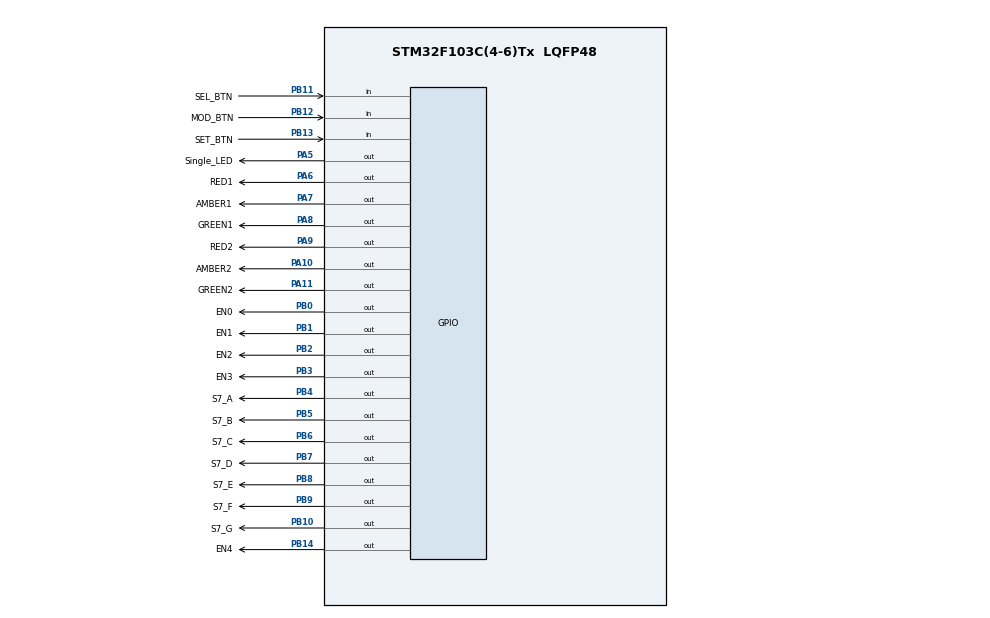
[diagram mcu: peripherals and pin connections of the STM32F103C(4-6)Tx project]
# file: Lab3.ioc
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Mcu.Family=STM32F1
Mcu.Name=STM32F103C(4-6)Tx
Mcu.Package=LQFP48
NVIC.PriorityGroup=NVIC_PRIORITYGROUP_4
NVIC.TIM2_IRQn=true\:0\:0\:false\:false\:true\:true\:true\:true
PA10.GPIO_Label=AMBER2
PA10.Signal=GPIO_Output
PA11.GPIO_Label=GREEN2
PA11.Signal=GPIO_Output
PA5.GPIO_Label=Single_LED
PA5.Signal=GPIO_Output
PA6.GPIO_Label=RED1
PA6.Signal=GPIO_Output
PA7.GPIO_Label=AMBER1
PA7.Signal=GPIO_Output
PA8.GPIO_Label=GREEN1
PA8.Signal=GPIO_Output
PA9.GPIO_Label=RED2
PA9.Signal=GPIO_Output
PB0.GPIO_Label=EN0
PB0.Signal=GPIO_Output
PB1.GPIO_Label=EN1
PB1.Signal=GPIO_Output
PB10.GPIO_Label=S7_G
PB10.Signal=GPIO_Output
PB11.GPIO_Label=SEL_BTN
PB11.GPIO_PuPd=GPIO_PULLUP
PB11.Signal=GPIO_Input
PB12.GPIO_Label=MOD_BTN
PB12.GPIO_PuPd=GPIO_PULLUP
PB12.Signal=GPIO_Input
PB13.GPIO_Label=SET_BTN
PB13.GPIO_PuPd=GPIO_PULLUP
PB13.Signal=GPIO_Input
PB14.GPIO_Label=EN4
PB14.Signal=GPIO_Output
PB2.GPIO_Label=EN2
PB2.Signal=GPIO_Output
PB3.GPIO_Label=EN3
PB3.Signal=GPIO_Output
PB4.GPIO_Label=S7_A
PB4.Signal=GPIO_Output
PB5.GPIO_Label=S7_B
PB5.Signal=GPIO_Output
PB6.GPIO_Label=S7_C
PB6.Signal=GPIO_Output
PB7.GPIO_Label=S7_D
PB7.Signal=GPIO_Output
PB8.GPIO_Label=S7_E
PB8.Signal=GPIO_Output
PB9.GPIO_Label=S7_F
PB9.Signal=GPIO_Output
ProjectManager.HeapSize=0x200
ProjectManager.StackSize=0x400
ProjectManager.TargetToolchain=STM32CubeIDE
RCC.APB1Freq_Value=8000000
RCC.APB2Freq_Value=8000000
TIM2.Period=9
TIM2.Prescaler=7999
VP_TIM2_VS_ClockSourceINT.Mode=Internal
board=custom

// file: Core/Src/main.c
/* USER CODE BEGIN Header */
/**
  ******************************************************************************
  * @file           : main.c
  * @brief          : Main program body
  ******************************************************************************
  * @attention
  *
  * Copyright (c) 2023 STMicroelectronics.
  * All rights reserved.
  *
  * This software is licensed under terms that can be found in the LICENSE file
  * in the root directory of this software component.
  * If no LICENSE file comes with this software, it is provided AS-IS.
  *
  ******************************************************************************
  */
/* USER CODE END Header */
#include "main.h"

/* USER CODE BEGIN Includes */
#include "global.h"
/* USER CODE END Includes */

TIM_HandleTypeDef htim2;

void SystemClock_Config(void);
static void MX_GPIO_Init(void);
static void MX_TIM2_Init(void);
/* USER CODE BEGIN PFP */
void HAL_TIM_PeriodElapsedCallback(TIM_HandleTypeDef *htim);
/* USER CODE END PFP */

int main(void)
{

  /* MCU Configuration--------------------------------------------------------*/

  /* Reset of all peripherals, Initializes the Flash interface and the Systick. */
  HAL_Init();

  /* Configure the system clock */
  SystemClock_Config();

  /* Initialize all configured peripherals */
  MX_GPIO_Init();
  MX_TIM2_Init();
  /* USER CODE BEGIN 2 */
  //Initialize......
  Input_Reading_Init();
  Input_Processing_Init();
  LED7SEG_Init();
  Global_Init();

  HAL_TIM_Base_Start_IT(&htim2);
  /* USER CODE END 2 */

  /* Infinite loop */
  /* USER CODE BEGIN WHILE */

  SetTimer(READING_PERIOD, READING_TIMER);
  SetTimer(SCANNING_PERIOD, SCANNING_TIMER);
  SetTimer(BLINKING_PERIOD, BLINKING_TIMER);

  while (1)
  {
	  if (GetFlagTimer(READING_TIMER)){
		  //Reset timer
		  SetTimer(READING_PERIOD, READING_TIMER);

		  //Reading
		  ButtonReading(SET_BTN);
		  ButtonReading(MOD_BTN);
		  ButtonReading(SEL_BTN);

		  //Input Processing
		  FSM_ProcessingSetValueButton();
		  FSM_ProcessingModifyButton();
		  FSM_ProcessingSelectModeButton();

		  //State Processing
		  FSM_ForRunStateProcessing();
	  }

	  //Display 7 SEG LEDs
	  if (GetFlagTimer(SCANNING_TIMER)){
		  //Reset timer
		  SetTimer(SCANNING_PERIOD, SCANNING_TIMER);

		  Scanning7SEG();
	  }

	  //Blinking
	  if (GetFlagTimer(BLINKING_TIMER)){
		  //Reset timer
		  SetTimer(BLINKING_PERIOD, BLINKING_TIMER);

		  HAL_GPIO_TogglePin(Single_LED_GPIO_Port, Single_LED_Pin);
	  }

    /* USER CODE END WHILE */

  }
}

void SystemClock_Config(void)
{
  RCC_OscInitTypeDef RCC_OscInitStruct = {0};
  RCC_ClkInitTypeDef RCC_ClkInitStruct = {0};

  /** Initializes the RCC Oscillators according to the specified parameters
  * in the RCC_OscInitTypeDef structure.
  */
  RCC_OscInitStruct.OscillatorType = RCC_OSCILLATORTYPE_HSI;
  RCC_OscInitStruct.HSIState = RCC_HSI_ON;
  RCC_OscInitStruct.HSICalibrationValue = RCC_HSICALIBRATION_DEFAULT;
  RCC_OscInitStruct.PLL.PLLState = RCC_PLL_NONE;
  if (HAL_RCC_OscConfig(&RCC_OscInitStruct) != HAL_OK)
  {
    Error_Handler();
  }

  /** Initializes the CPU, AHB and APB buses clocks
  */
  RCC_ClkInitStruct.ClockType = RCC_CLOCKTYPE_HCLK|RCC_CLOCKTYPE_SYSCLK
                              |RCC_CLOCKTYPE_PCLK1|RCC_CLOCKTYPE_PCLK2;
  RCC_ClkInitStruct.SYSCLKSource = RCC_SYSCLKSOURCE_HSI;
  RCC_ClkInitStruct.AHBCLKDivider = RCC_SYSCLK_DIV1;
  RCC_ClkInitStruct.APB1CLKDivider = RCC_HCLK_DIV1;
  RCC_ClkInitStruct.APB2CLKDivider = RCC_HCLK_DIV1;

  if (HAL_RCC_ClockConfig(&RCC_ClkInitStruct, FLASH_LATENCY_0) != HAL_OK)
  {
    Error_Handler();
  }
}

static void MX_TIM2_Init(void)
{

  TIM_ClockConfigTypeDef sClockSourceConfig = {0};
  TIM_MasterConfigTypeDef sMasterConfig = {0};

  htim2.Instance = TIM2;
  htim2.Init.Prescaler = 7999;
  htim2.Init.CounterMode = TIM_COUNTERMODE_UP;
  htim2.Init.Period = 9;
  htim2.Init.ClockDivision = TIM_CLOCKDIVISION_DIV1;
  htim2.Init.AutoReloadPreload = TIM_AUTORELOAD_PRELOAD_DISABLE;
  if (HAL_TIM_Base_Init(&htim2) != HAL_OK)
  {
    Error_Handler();
  }
  sClockSourceConfig.ClockSource = TIM_CLOCKSOURCE_INTERNAL;
  if (HAL_TIM_ConfigClockSource(&htim2, &sClockSourceConfig) != HAL_OK)
  {
    Error_Handler();
  }
  sMasterConfig.MasterOutputTrigger = TIM_TRGO_RESET;
  sMasterConfig.MasterSlaveMode = TIM_MASTERSLAVEMODE_DISABLE;
  if (HAL_TIMEx_MasterConfigSynchronization(&htim2, &sMasterConfig) != HAL_OK)
  {
    Error_Handler();
  }

}

static void MX_GPIO_Init(void)
{
  GPIO_InitTypeDef GPIO_InitStruct = {0};

  /* GPIO Ports Clock Enable */
  __HAL_RCC_GPIOA_CLK_ENABLE();
  __HAL_RCC_GPIOB_CLK_ENABLE();

  /*Configure GPIO pin Output Level */
  HAL_GPIO_WritePin(GPIOA, Single_LED_Pin|RED1_Pin|AMBER1_Pin|GREEN1_Pin
                          |RED2_Pin|AMBER2_Pin|GREEN2_Pin, GPIO_PIN_RESET);

  /*Configure GPIO pin Output Level */
  HAL_GPIO_WritePin(GPIOB, EN0_Pin|EN1_Pin|EN2_Pin|S7_G_Pin
                          |EN4_Pin|EN3_Pin|S7_A_Pin|S7_B_Pin
                          |S7_C_Pin|S7_D_Pin|S7_E_Pin|S7_F_Pin, GPIO_PIN_RESET);

  /*Configure GPIO pins : Single_LED_Pin RED1_Pin AMBER1_Pin GREEN1_Pin
                           RED2_Pin AMBER2_Pin GREEN2_Pin */
  GPIO_InitStruct.Pin = Single_LED_Pin|RED1_Pin|AMBER1_Pin|GREEN1_Pin
                          |RED2_Pin|AMBER2_Pin|GREEN2_Pin;
  GPIO_InitStruct.Mode = GPIO_MODE_OUTPUT_PP;
  GPIO_InitStruct.Pull = GPIO_NOPULL;
  GPIO_InitStruct.Speed = GPIO_SPEED_FREQ_LOW;
  HAL_GPIO_Init(GPIOA, &GPIO_InitStruct);

  /*Configure GPIO pins : EN0_Pin EN1_Pin EN2_Pin S7_G_Pin
                           EN4_Pin EN3_Pin S7_A_Pin S7_B_Pin
                           S7_C_Pin S7_D_Pin S7_E_Pin S7_F_Pin */
  GPIO_InitStruct.Pin = EN0_Pin|EN1_Pin|EN2_Pin|S7_G_Pin
                          |EN4_Pin|EN3_Pin|S7_A_Pin|S7_B_Pin
                          |S7_C_Pin|S7_D_Pin|S7_E_Pin|S7_F_Pin;
  GPIO_InitStruct.Mode = GPIO_MODE_OUTPUT_PP;
  GPIO_InitStruct.Pull = GPIO_NOPULL;
  GPIO_InitStruct.Speed = GPIO_SPEED_FREQ_LOW;
  HAL_GPIO_Init(GPIOB, &GPIO_InitStruct);

  /*Configure GPIO pins : SEL_BTN_Pin MOD_BTN_Pin SET_BTN_Pin */
  GPIO_InitStruct.Pin = SEL_BTN_Pin|MOD_BTN_Pin|SET_BTN_Pin;
  GPIO_InitStruct.Mode = GPIO_MODE_INPUT;
  GPIO_InitStruct.Pull = GPIO_PULLUP;
  HAL_GPIO_Init(GPIOB, &GPIO_InitStruct);

}

/* USER CODE BEGIN 4 */
void HAL_TIM_PeriodElapsedCallback(TIM_HandleTypeDef *htim){
	AllTimerRun();
}

/* USER CODE END 4 */

void Error_Handler(void)
{
  __disable_irq();
  while (1)
  {
  }
}
